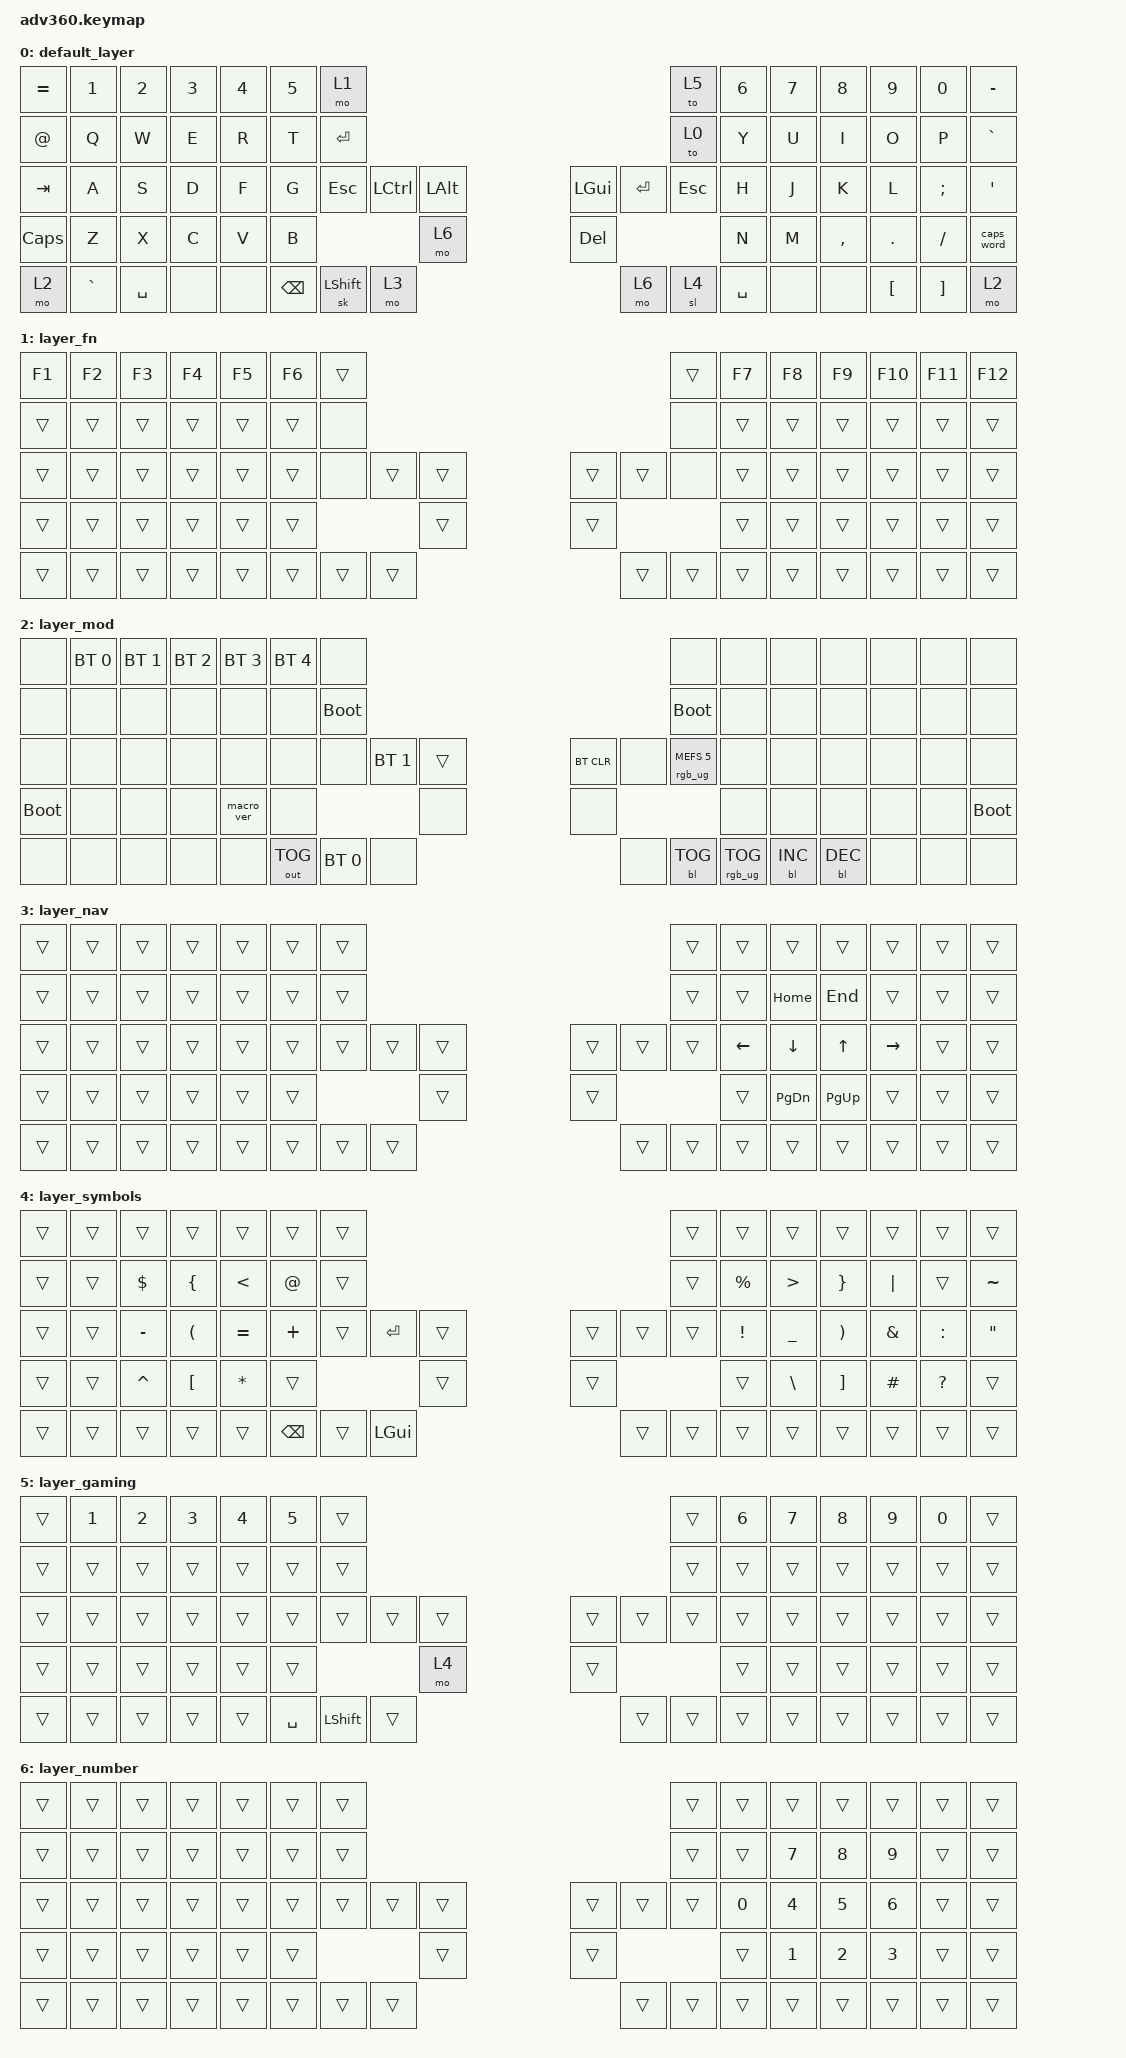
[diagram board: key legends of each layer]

/*
 * Copyright (c) 2020 The ZMK Contributors
 *
 * SPDX-License-Identifier: MIT
 */


/* THIS FILE WAS GENERATED!
 *
 * This file was generated automatically. You may or may not want to
 * edit it directly.
 */

#include <behaviors.dtsi>
#include <dt-bindings/zmk/keys.h>
#include <dt-bindings/zmk/bt.h>
#include <dt-bindings/zmk/rgb.h>
#include <dt-bindings/zmk/outputs.h>
#include <dt-bindings/zmk/backlight.h>

/ {
  behaviors {
    #include "macros.dtsi"
    #include "version.dtsi"

    hm: homerow_mods {
        compatible = "zmk,behavior-hold-tap";
        label = "HOMEROW_MODS";
        #binding-cells = <2>;
        tapping-term-ms = <200>;
        quick_tap_ms = <175>;
        flavor = "tap-preferred";
        bindings = <&kp>, <&kp>;
    };
  };

    keymap {
        compatible = "zmk,keymap";


        default_layer {
            bindings = <
    &kp EQUAL  &kp NUMBER_1  &kp NUMBER_2  &kp NUMBER_3  &kp NUMBER_4  &kp NUMBER_5                    &mo 1                                                                        &to 5  &kp NUMBER_6  &kp NUMBER_7  &kp NUMBER_8  &kp NUMBER_9  &kp NUMBER_0   &kp MINUS
       &kp AT         &kp Q         &kp W         &kp E         &kp R         &kp T                &kp ENTER                                                                        &to 0         &kp Y         &kp U         &kp I         &kp O         &kp P   &kp GRAVE
      &kp TAB         &kp A         &kp S         &kp D         &kp F         &kp G                  &kp ESC       &kp LCTRL  &kp LALT                    &kp LGUI  &kp ENTER  &kp ESCAPE         &kp H         &kp J         &kp K         &kp L      &kp SEMI     &kp SQT
 &kp CAPSLOCK         &kp Z         &kp X         &kp C         &kp V         &kp B                                              &mo 6                  &kp DELETE                                &kp N         &kp M     &kp COMMA       &kp DOT      &kp FSLH  &caps_word
        &mo 2     &kp GRAVE     &kp SPACE         &none         &none                          &kp BACKSPACE  &sk LEFT_SHIFT     &mo 3                       &mo 6      &sl 4   &kp SPACE                       &none         &none      &kp LBKT      &kp RBKT       &mo 2
            >;
        };

        layer_fn {
            bindings = <
 &kp F1  &kp F2  &kp F3  &kp F4  &kp F5  &kp F6            &trans                                                  &trans  &kp F7  &kp F8  &kp F9  &kp F10  &kp F11  &kp F12
 &trans  &trans  &trans  &trans  &trans  &trans             &none                                                   &none  &trans  &trans  &trans   &trans   &trans   &trans
 &trans  &trans  &trans  &trans  &trans  &trans             &none  &trans  &trans                  &trans  &trans   &none  &trans  &trans  &trans   &trans   &trans   &trans
 &trans  &trans  &trans  &trans  &trans  &trans                            &trans                  &trans                  &trans  &trans  &trans   &trans   &trans   &trans
 &trans  &trans  &trans  &trans  &trans                    &trans  &trans  &trans                  &trans  &trans  &trans          &trans  &trans   &trans   &trans   &trans
            >;
        };

        layer_mod {
            bindings = <
       &none  &bt BT_SEL 0  &bt BT_SEL 1  &bt BT_SEL 2  &bt BT_SEL 3  &bt BT_SEL 4                   &none                                                                                 &none   &none       &none       &none   &none   &none        &none
       &none         &none         &none         &none         &none         &none             &bootloader                                                                           &bootloader   &none       &none       &none   &none   &none        &none
       &none         &none         &none         &none         &none         &none                   &none  &bt BT_SEL 1  &trans                  &bt BT_CLR       &none  &rgb_ug RGB_MEFS_CMD 5   &none       &none       &none   &none   &none        &none
 &bootloader         &none         &none         &none    &macro_ver         &none                                         &none                       &none                                       &none       &none       &none   &none   &none  &bootloader
       &none         &none         &none         &none         &none                          &out OUT_TOG  &bt BT_SEL 0   &none                       &none  &bl BL_TOG         &rgb_ug RGB_TOG          &bl BL_INC  &bl BL_DEC   &none   &none        &none
            >;
        };

        layer_nav {
            bindings = <
 &trans  &trans  &trans  &trans  &trans  &trans            &trans                                                  &trans    &trans         &trans     &trans     &trans  &trans  &trans
 &trans  &trans  &trans  &trans  &trans  &trans            &trans                                                  &trans    &trans       &kp HOME    &kp END     &trans  &trans  &trans
 &trans  &trans  &trans  &trans  &trans  &trans            &trans  &trans  &trans                  &trans  &trans  &trans  &kp LEFT       &kp DOWN     &kp UP  &kp RIGHT  &trans  &trans
 &trans  &trans  &trans  &trans  &trans  &trans                            &trans                  &trans                    &trans  &kp PAGE_DOWN  &kp PG_UP     &trans  &trans  &trans
 &trans  &trans  &trans  &trans  &trans                    &trans  &trans  &trans                  &trans  &trans  &trans                   &trans     &trans     &trans  &trans  &trans
            >;
        };

        layer_symbols {
            bindings = <
 &trans  &trans      &trans                &trans         &trans    &trans                   &trans                                                           &trans           &trans            &trans                 &trans         &trans        &trans             &trans
 &trans  &trans  &kp DOLLAR        &kp LEFT_BRACE  &kp LESS_THAN    &kp AT                   &trans                                                           &trans      &kp PERCENT  &kp GREATER_THAN        &kp RIGHT_BRACE       &kp PIPE        &trans          &kp TILDE
 &trans  &trans   &kp MINUS  &kp LEFT_PARENTHESIS      &kp EQUAL  &kp PLUS                   &trans  &kp ENTER        &trans                  &trans  &trans  &trans  &kp EXCLAMATION    &kp UNDERSCORE  &kp RIGHT_PARENTHESIS  &kp AMPERSAND     &kp COLON  &kp DOUBLE_QUOTES
 &trans  &trans   &kp CARET      &kp LEFT_BRACKET       &kp STAR    &trans                                            &trans                  &trans                           &trans     &kp BACKSLASH      &kp RIGHT_BRACKET      &kp POUND  &kp QUESTION             &trans
 &trans  &trans      &trans                &trans         &trans                      &kp BACKSPACE     &trans  &kp LEFT_GUI                  &trans  &trans  &trans                             &trans                 &trans         &trans        &trans             &trans
            >;
        };

        layer_gaming {
            bindings = <
 &trans  &kp NUMBER_1  &kp NUMBER_2  &kp NUMBER_3  &kp NUMBER_4  &kp NUMBER_5               &trans                                                          &trans  &kp NUMBER_6  &kp NUMBER_7  &kp NUMBER_8  &kp NUMBER_9  &kp NUMBER_0  &trans
 &trans        &trans        &trans        &trans        &trans        &trans               &trans                                                          &trans        &trans        &trans        &trans        &trans        &trans  &trans
 &trans        &trans        &trans        &trans        &trans        &trans               &trans          &trans  &trans                  &trans  &trans  &trans        &trans        &trans        &trans        &trans        &trans  &trans
 &trans        &trans        &trans        &trans        &trans        &trans                                        &mo 4                  &trans                        &trans        &trans        &trans        &trans        &trans  &trans
 &trans        &trans        &trans        &trans        &trans                          &kp SPACE  &kp LEFT_SHIFT  &trans                  &trans  &trans  &trans                      &trans        &trans        &trans        &trans  &trans
            >;
        };

        layer_number {
            bindings = <
 &trans  &trans  &trans  &trans  &trans  &trans            &trans                                                  &trans        &trans        &trans        &trans        &trans  &trans  &trans
 &trans  &trans  &trans  &trans  &trans  &trans            &trans                                                  &trans        &trans  &kp NUMBER_7  &kp NUMBER_8  &kp NUMBER_9  &trans  &trans
 &trans  &trans  &trans  &trans  &trans  &trans            &trans  &trans  &trans                  &trans  &trans  &trans  &kp NUMBER_0  &kp NUMBER_4  &kp NUMBER_5  &kp NUMBER_6  &trans  &trans
 &trans  &trans  &trans  &trans  &trans  &trans                            &trans                  &trans                        &trans  &kp NUMBER_1  &kp NUMBER_2  &kp NUMBER_3  &trans  &trans
 &trans  &trans  &trans  &trans  &trans                    &trans  &trans  &trans                  &trans  &trans  &trans                      &trans        &trans        &trans  &trans  &trans
            >;
        };

    };
};
